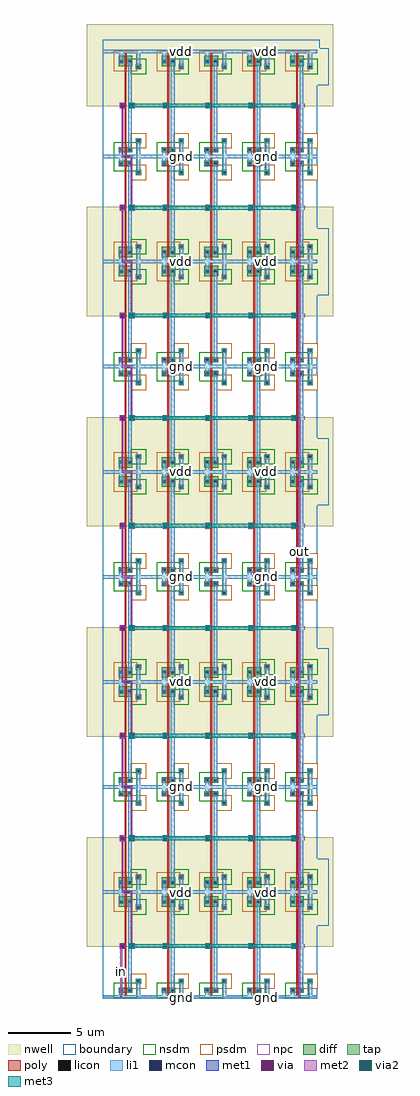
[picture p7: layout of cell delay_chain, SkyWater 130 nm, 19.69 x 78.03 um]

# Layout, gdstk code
import gdstk
lib = gdstk.Library(unit=1e-6, precision=1e-09)
def R(c, l, rs):  # rectangles x0, y0, x1, y1
    for r in rs: c.add(gdstk.rectangle(r[:2], r[2:], *l))
def A(c, l, x, y, w, h, nx, ny, dx, dy):  # array of equal rectangles
    R(c, l, [(x+i*dx, y+j*dy, x+i*dx+w, y+j*dy+h) for i in range(nx) for j in range(ny)])
nwell = (64, 20)
diff = (65, 20)
tap = (65, 44)
poly = (66, 20)
licon = (66, 44)
li1 = (67, 20)
mcon = (67, 44)
met1 = (68, 20)
via = (68, 44)
met2 = (69, 20)
via2 = (69, 44)
met3 = (70, 20)
nsdm = (93, 44)
psdm = (94, 20)
npc = (95, 20)
boundary = (235, 4)

contact_10 = lib.new_cell('contact_10')
R(contact_10, nwell, [(-1.27,-1.27,1.69,1.69)])
R(contact_10, diff, [(0,0,0.42,0.42)])
R(contact_10, licon, [(0.12,0.12,0.29,0.29)])
R(contact_10, li1, [(0.04,0.04,0.37,0.37)])
R(contact_10, psdm, [(-0.4,-0.4,0.82,0.82)])
R(contact_10, boundary, [(-1.27,-1.27,1.69,1.69)])

pmos_m1_w0_840_sli_dli_d = lib.new_cell('pmos_m1_w0_840_sli_dli_da_p')
R(pmos_m1_w0_840_sli_dli_d, nwell, [(-1.27,-1.27,2.37,2.11)])
R(pmos_m1_w0_840_sli_dli_d, diff, [(0,0,1.1,0.84)])
R(pmos_m1_w0_840_sli_dli_d, poly, [(0.47,-0.21,0.62,1.05), (0.47,-0.21,0.63,1.05)])
R(pmos_m1_w0_840_sli_dli_d, li1, [(0.05,0.25,0.37,0.59), (0.73,0.25,1.05,0.59)])
R(pmos_m1_w0_840_sli_dli_d, psdm, [(-0.4,-0.4,1.5,1.24)])
R(pmos_m1_w0_840_sli_dli_d, boundary, [(-1.27,-1.27,2.37,2.11)])
pmos_m1_w0_840_sli_dli_d.add(gdstk.Reference(contact_10, (0,0.21)))
pmos_m1_w0_840_sli_dli_d.add(gdstk.Reference(contact_10, (0.68,0.21)))
pmos_m1_w0_840_sli_dli_d.add(gdstk.Label('G', (0.55,0.42), layer=66, texttype=20))
pmos_m1_w0_840_sli_dli_d.add(gdstk.Label('S', (0.21,0.42), layer=67, texttype=20))
pmos_m1_w0_840_sli_dli_d.add(gdstk.Label('D', (0.89,0.42), layer=67, texttype=20))

contact_9 = lib.new_cell('contact_9')
R(contact_9, diff, [(0,0,0.42,0.42)])
R(contact_9, licon, [(0.12,0.12,0.29,0.29)])
R(contact_9, li1, [(0.04,0.04,0.37,0.37)])
R(contact_9, nsdm, [(-0.4,-0.4,0.82,0.82)])
R(contact_9, boundary, [(-0.4,-0.4,0.82,0.82)])

nmos_m1_w0_420_sli_dli_d = lib.new_cell('nmos_m1_w0_420_sli_dli_da_p')
R(nmos_m1_w0_420_sli_dli_d, diff, [(0,0,1.1,0.42)])
R(nmos_m1_w0_420_sli_dli_d, poly, [(0.47,-0.21,0.62,0.63), (0.47,-0.21,0.63,0.63)])
R(nmos_m1_w0_420_sli_dli_d, li1, [(0.05,0.05,0.37,0.37), (0.73,0.05,1.05,0.37)])
R(nmos_m1_w0_420_sli_dli_d, nsdm, [(-0.4,-0.4,1.5,0.82)])
R(nmos_m1_w0_420_sli_dli_d, boundary, [(-0.4,-0.4,1.5,0.82)])
nmos_m1_w0_420_sli_dli_d.add(gdstk.Reference(contact_9, (0,0)))
nmos_m1_w0_420_sli_dli_d.add(gdstk.Reference(contact_9, (0.68,0)))
nmos_m1_w0_420_sli_dli_d.add(gdstk.Label('G', (0.55,0.21), layer=66, texttype=20))
nmos_m1_w0_420_sli_dli_d.add(gdstk.Label('S', (0.21,0.21), layer=67, texttype=20))
nmos_m1_w0_420_sli_dli_d.add(gdstk.Label('D', (0.89,0.21), layer=67, texttype=20))

contact_11 = lib.new_cell('contact_11')
R(contact_11, nwell, [(-1.27,-1.27,1.69,1.69)])
R(contact_11, tap, [(0,0,0.42,0.42)])
R(contact_11, licon, [(0.12,0.12,0.29,0.29)])
R(contact_11, li1, [(0.04,0.04,0.37,0.37)])
R(contact_11, nsdm, [(-0.4,-0.4,0.82,0.82)])
R(contact_11, boundary, [(-1.27,-1.27,1.69,1.69)])

contact_12 = lib.new_cell('contact_12')
R(contact_12, tap, [(0,0,0.42,0.42)])
R(contact_12, licon, [(0.12,0.12,0.29,0.29)])
R(contact_12, li1, [(0.04,0.04,0.37,0.37)])
R(contact_12, psdm, [(-0.4,-0.4,0.82,0.82)])
R(contact_12, boundary, [(-0.4,-0.4,0.82,0.82)])

contact_13 = lib.new_cell('contact_13')
R(contact_13, poly, [(0,0,0.33,0.33)])
R(contact_13, licon, [(0.08,0.08,0.25,0.25)])
R(contact_13, li1, [(0,0,0.33,0.33)])
R(contact_13, npc, [(-0.05,-0.05,0.38,0.38)])
R(contact_13, boundary, [(-0.05,-0.05,0.38,0.38)])

pinv_11 = lib.new_cell('pinv_11')
R(pinv_11, nwell, [(-1.27,4.03,4.7,10.6)])
R(pinv_11, poly, [(1.74,0.97,1.89,7.01), (1.58,3.92,1.74,4.25)])
R(pinv_11, li1, [(0,-0.14,3.43,0.14), (1.32,-0.14,1.64,0.39), (2.68,0,3.01,1.27), (2.02,0.39,2.31,7.81), (1.41,3.92,1.74,4.26), (2.16,3.94,2.45,4.24), (2.68,7.2,3.01,8.4), (1.32,7.47,1.64,8.54), (0,8.26,3.43,8.54)])
R(pinv_11, boundary, [(0,0,3.43,8.4), (0,0,3.43,8.4)])
pinv_11.add(gdstk.Reference(pmos_m1_w0_840_sli_dli_d, (1.27,7.22)))
pinv_11.add(gdstk.Reference(nmos_m1_w0_420_sli_dli_d, (1.27,0.34)))
pinv_11.add(gdstk.Reference(contact_11, (2.64,6.99)))
pinv_11.add(gdstk.Reference(contact_12, (2.64,1.06)))
pinv_11.add(gdstk.Reference(contact_13, (1.41,3.92)))
pinv_11.add(gdstk.Label('A', (1.575,4.09), layer=67, texttype=20))
pinv_11.add(gdstk.Label('Z', (2.305,4.09), layer=67, texttype=20))
pinv_11.add(gdstk.Label('gnd', (1.715,0), layer=67, texttype=20))
pinv_11.add(gdstk.Label('vdd', (1.715,8.4), layer=67, texttype=20))

contact_14 = lib.new_cell('contact_14')
R(contact_14, li1, [(0,0,0.33,0.33)])
R(contact_14, mcon, [(0.08,0.08,0.25,0.25)])
R(contact_14, met1, [(0.02,0.02,0.31,0.31)])
R(contact_14, boundary, [(0,0,0.33,0.33)])

contact_6 = lib.new_cell('contact_6')
R(contact_6, met1, [(0,0,0.46,0.46)])
R(contact_6, via, [(0.1,0.1,0.36,0.36)])
R(contact_6, met2, [(0,0,0.46,0.46)])
R(contact_6, boundary, [(0,0,0.46,0.46)])

contact_7 = lib.new_cell('contact_7')
R(contact_7, met2, [(0,0,0.46,0.46)])
R(contact_7, via2, [(0.09,0.09,0.37,0.37)])
R(contact_7, met3, [(0.01,0.01,0.45,0.45)])
R(contact_7, boundary, [(0,0,0.46,0.46)])

delay_chain = lib.new_cell('delay_chain')
A(delay_chain, met2, 2.23, 4.09, 0.14, 4.31, 1, 4, 0, 16.8)
A(delay_chain, met2, 1.51, 8.33, 0.14, 0.14, 1, 8, 0, 8.4)
A(delay_chain, met2, 1.58, 8.33, 0.72, 0.14, 1, 8, 0, 8.4)
A(delay_chain, met2, 2.23, 8.33, 0.14, 0.14, 1, 8, 0, 8.4)
A(delay_chain, met2, 1.51, 8.4, 0.14, 4.31, 1, 4, 0, 16.8)
A(delay_chain, met2, 2.23, 12.71, 0.14, 4.09, 1, 4, 0, 16.8)
A(delay_chain, met2, 1.51, 16.8, 0.14, 4.09, 1, 4, 0, 16.8)
R(delay_chain, met2, [(1.41,0,1.55,4.09), (15.64,0,15.78,71.29), (15.65,0,15.79,71.29), (15.3,71.22,15.72,71.36), (15.65,71.22,15.79,71.36)])
A(delay_chain, met3, 6.03, -0.23, 0.46, 0.46, 1, 8, 0, 8.4)
A(delay_chain, met3, 12.89, -0.23, 0.46, 0.46, 1, 8, 0, 8.4)
A(delay_chain, met3, 6.03, 58.57, 0.46, 0.46, 1, 3, 0, 8.4)
A(delay_chain, met3, 12.89, 58.57, 0.46, 0.46, 1, 3, 0, 8.4)
R(delay_chain, met3, [(2.3,3.94,15.3,4.24), (2.3,12.56,15.3,12.86), (2.3,20.74,15.3,21.04), (2.3,29.36,15.3,29.66), (2.3,37.54,15.3,37.84), (2.3,46.16,15.3,46.46), (2.3,54.34,15.3,54.64), (2.3,62.96,15.3,63.26), (2.3,71.14,15.3,71.44)])
R(delay_chain, boundary, [(0,0,17.15,75.6)])
delay_chain.add(gdstk.Reference(pinv_11, (0,0)))
delay_chain.add(gdstk.Reference(pinv_11, (3.43,0)))
delay_chain.add(gdstk.Reference(pinv_11, (6.86,0)))
delay_chain.add(gdstk.Reference(pinv_11, (10.29,0)))
delay_chain.add(gdstk.Reference(pinv_11, (13.72,0)))
delay_chain.add(gdstk.Reference(pinv_11, (0,16.8), x_reflection=True))
delay_chain.add(gdstk.Reference(pinv_11, (3.43,16.8), x_reflection=True))
delay_chain.add(gdstk.Reference(pinv_11, (6.86,16.8), x_reflection=True))
delay_chain.add(gdstk.Reference(pinv_11, (10.29,16.8), x_reflection=True))
delay_chain.add(gdstk.Reference(pinv_11, (13.72,16.8), x_reflection=True))
delay_chain.add(gdstk.Reference(pinv_11, (0,16.8)))
delay_chain.add(gdstk.Reference(pinv_11, (3.43,16.8)))
delay_chain.add(gdstk.Reference(pinv_11, (6.86,16.8)))
delay_chain.add(gdstk.Reference(pinv_11, (10.29,16.8)))
delay_chain.add(gdstk.Reference(pinv_11, (13.72,16.8)))
delay_chain.add(gdstk.Reference(pinv_11, (0,33.6), x_reflection=True))
delay_chain.add(gdstk.Reference(pinv_11, (3.43,33.6), x_reflection=True))
delay_chain.add(gdstk.Reference(pinv_11, (6.86,33.6), x_reflection=True))
delay_chain.add(gdstk.Reference(pinv_11, (10.29,33.6), x_reflection=True))
delay_chain.add(gdstk.Reference(pinv_11, (13.72,33.6), x_reflection=True))
delay_chain.add(gdstk.Reference(pinv_11, (0,33.6)))
delay_chain.add(gdstk.Reference(pinv_11, (3.43,33.6)))
delay_chain.add(gdstk.Reference(pinv_11, (6.86,33.6)))
delay_chain.add(gdstk.Reference(pinv_11, (10.29,33.6)))
delay_chain.add(gdstk.Reference(pinv_11, (13.72,33.6)))
delay_chain.add(gdstk.Reference(pinv_11, (0,50.4), x_reflection=True))
delay_chain.add(gdstk.Reference(pinv_11, (3.43,50.4), x_reflection=True))
delay_chain.add(gdstk.Reference(pinv_11, (6.86,50.4), x_reflection=True))
delay_chain.add(gdstk.Reference(pinv_11, (10.29,50.4), x_reflection=True))
delay_chain.add(gdstk.Reference(pinv_11, (13.72,50.4), x_reflection=True))
delay_chain.add(gdstk.Reference(pinv_11, (0,50.4)))
delay_chain.add(gdstk.Reference(pinv_11, (3.43,50.4)))
delay_chain.add(gdstk.Reference(pinv_11, (6.86,50.4)))
delay_chain.add(gdstk.Reference(pinv_11, (10.29,50.4)))
delay_chain.add(gdstk.Reference(pinv_11, (13.72,50.4)))
delay_chain.add(gdstk.Reference(pinv_11, (0,67.2), x_reflection=True))
delay_chain.add(gdstk.Reference(pinv_11, (3.43,67.2), x_reflection=True))
delay_chain.add(gdstk.Reference(pinv_11, (6.86,67.2), x_reflection=True))
delay_chain.add(gdstk.Reference(pinv_11, (10.29,67.2), x_reflection=True))
delay_chain.add(gdstk.Reference(pinv_11, (13.72,67.2), x_reflection=True))
delay_chain.add(gdstk.Reference(pinv_11, (0,67.2)))
delay_chain.add(gdstk.Reference(pinv_11, (3.43,67.2)))
delay_chain.add(gdstk.Reference(pinv_11, (6.86,67.2)))
delay_chain.add(gdstk.Reference(pinv_11, (10.29,67.2)))
delay_chain.add(gdstk.Reference(pinv_11, (13.72,67.2)))
delay_chain.add(gdstk.Reference(contact_14, (4.84,3.92)))
delay_chain.add(gdstk.Reference(contact_6, (4.78,3.86)))
delay_chain.add(gdstk.Reference(contact_7, (4.78,3.86)))
delay_chain.add(gdstk.Reference(contact_14, (8.27,3.92)))
delay_chain.add(gdstk.Reference(contact_6, (8.2,3.86)))
delay_chain.add(gdstk.Reference(contact_7, (8.2,3.86)))
delay_chain.add(gdstk.Reference(contact_14, (11.7,3.92)))
delay_chain.add(gdstk.Reference(contact_6, (11.64,3.86)))
delay_chain.add(gdstk.Reference(contact_7, (11.64,3.86)))
delay_chain.add(gdstk.Reference(contact_14, (15.13,3.92)))
delay_chain.add(gdstk.Reference(contact_6, (15.06,3.86)))
delay_chain.add(gdstk.Reference(contact_7, (15.06,3.86)))
delay_chain.add(gdstk.Reference(contact_14, (1.41,3.92)))
delay_chain.add(gdstk.Reference(contact_6, (1.34,3.86)))
delay_chain.add(gdstk.Reference(contact_14, (2.14,3.92)))
delay_chain.add(gdstk.Reference(contact_6, (2.08,3.86)))
delay_chain.add(gdstk.Reference(contact_7, (2.08,3.86)))
delay_chain.add(gdstk.Reference(contact_14, (4.84,12.54)))
delay_chain.add(gdstk.Reference(contact_6, (4.78,12.48)))
delay_chain.add(gdstk.Reference(contact_7, (4.78,12.48)))
delay_chain.add(gdstk.Reference(contact_14, (8.27,12.54)))
delay_chain.add(gdstk.Reference(contact_6, (8.2,12.48)))
delay_chain.add(gdstk.Reference(contact_7, (8.2,12.48)))
delay_chain.add(gdstk.Reference(contact_14, (11.7,12.54)))
delay_chain.add(gdstk.Reference(contact_6, (11.64,12.48)))
delay_chain.add(gdstk.Reference(contact_7, (11.64,12.48)))
delay_chain.add(gdstk.Reference(contact_14, (15.13,12.54)))
delay_chain.add(gdstk.Reference(contact_6, (15.06,12.48)))
delay_chain.add(gdstk.Reference(contact_7, (15.06,12.48)))
delay_chain.add(gdstk.Reference(contact_14, (1.41,12.54)))
delay_chain.add(gdstk.Reference(contact_6, (1.34,12.48)))
delay_chain.add(gdstk.Reference(contact_14, (2.14,12.54)))
delay_chain.add(gdstk.Reference(contact_6, (2.08,12.48)))
delay_chain.add(gdstk.Reference(contact_7, (2.08,12.48)))
delay_chain.add(gdstk.Reference(contact_14, (4.84,20.72)))
delay_chain.add(gdstk.Reference(contact_6, (4.78,20.66)))
delay_chain.add(gdstk.Reference(contact_7, (4.78,20.66)))
delay_chain.add(gdstk.Reference(contact_14, (8.27,20.72)))
delay_chain.add(gdstk.Reference(contact_6, (8.2,20.66)))
delay_chain.add(gdstk.Reference(contact_7, (8.2,20.66)))
delay_chain.add(gdstk.Reference(contact_14, (11.7,20.72)))
delay_chain.add(gdstk.Reference(contact_6, (11.64,20.66)))
delay_chain.add(gdstk.Reference(contact_7, (11.64,20.66)))
delay_chain.add(gdstk.Reference(contact_14, (15.13,20.72)))
delay_chain.add(gdstk.Reference(contact_6, (15.06,20.66)))
delay_chain.add(gdstk.Reference(contact_7, (15.06,20.66)))
delay_chain.add(gdstk.Reference(contact_14, (1.41,20.72)))
delay_chain.add(gdstk.Reference(contact_6, (1.34,20.66)))
delay_chain.add(gdstk.Reference(contact_14, (2.14,20.72)))
delay_chain.add(gdstk.Reference(contact_6, (2.08,20.66)))
delay_chain.add(gdstk.Reference(contact_7, (2.08,20.66)))
delay_chain.add(gdstk.Reference(contact_14, (4.84,29.34)))
delay_chain.add(gdstk.Reference(contact_6, (4.78,29.28)))
delay_chain.add(gdstk.Reference(contact_7, (4.78,29.28)))
delay_chain.add(gdstk.Reference(contact_14, (8.27,29.34)))
delay_chain.add(gdstk.Reference(contact_6, (8.2,29.28)))
delay_chain.add(gdstk.Reference(contact_7, (8.2,29.28)))
delay_chain.add(gdstk.Reference(contact_14, (11.7,29.34)))
delay_chain.add(gdstk.Reference(contact_6, (11.64,29.28)))
delay_chain.add(gdstk.Reference(contact_7, (11.64,29.28)))
delay_chain.add(gdstk.Reference(contact_14, (15.13,29.34)))
delay_chain.add(gdstk.Reference(contact_6, (15.06,29.28)))
delay_chain.add(gdstk.Reference(contact_7, (15.06,29.28)))
delay_chain.add(gdstk.Reference(contact_14, (1.41,29.34)))
delay_chain.add(gdstk.Reference(contact_6, (1.34,29.28)))
delay_chain.add(gdstk.Reference(contact_14, (2.14,29.34)))
delay_chain.add(gdstk.Reference(contact_6, (2.08,29.28)))
delay_chain.add(gdstk.Reference(contact_7, (2.08,29.28)))
delay_chain.add(gdstk.Reference(contact_14, (4.84,37.52)))
delay_chain.add(gdstk.Reference(contact_6, (4.78,37.46)))
delay_chain.add(gdstk.Reference(contact_7, (4.78,37.46)))
delay_chain.add(gdstk.Reference(contact_14, (8.27,37.52)))
delay_chain.add(gdstk.Reference(contact_6, (8.2,37.46)))
delay_chain.add(gdstk.Reference(contact_7, (8.2,37.46)))
delay_chain.add(gdstk.Reference(contact_14, (11.7,37.52)))
delay_chain.add(gdstk.Reference(contact_6, (11.64,37.46)))
delay_chain.add(gdstk.Reference(contact_7, (11.64,37.46)))
delay_chain.add(gdstk.Reference(contact_14, (15.13,37.52)))
delay_chain.add(gdstk.Reference(contact_6, (15.06,37.46)))
delay_chain.add(gdstk.Reference(contact_7, (15.06,37.46)))
delay_chain.add(gdstk.Reference(contact_14, (1.41,37.52)))
delay_chain.add(gdstk.Reference(contact_6, (1.34,37.46)))
delay_chain.add(gdstk.Reference(contact_14, (2.14,37.52)))
delay_chain.add(gdstk.Reference(contact_6, (2.08,37.46)))
delay_chain.add(gdstk.Reference(contact_7, (2.08,37.46)))
delay_chain.add(gdstk.Reference(contact_14, (4.84,46.14)))
delay_chain.add(gdstk.Reference(contact_6, (4.78,46.08)))
delay_chain.add(gdstk.Reference(contact_7, (4.78,46.08)))
delay_chain.add(gdstk.Reference(contact_14, (8.27,46.14)))
delay_chain.add(gdstk.Reference(contact_6, (8.2,46.08)))
delay_chain.add(gdstk.Reference(contact_7, (8.2,46.08)))
delay_chain.add(gdstk.Reference(contact_14, (11.7,46.14)))
delay_chain.add(gdstk.Reference(contact_6, (11.64,46.08)))
delay_chain.add(gdstk.Reference(contact_7, (11.64,46.08)))
delay_chain.add(gdstk.Reference(contact_14, (15.13,46.14)))
delay_chain.add(gdstk.Reference(contact_6, (15.06,46.08)))
delay_chain.add(gdstk.Reference(contact_7, (15.06,46.08)))
delay_chain.add(gdstk.Reference(contact_14, (1.41,46.14)))
delay_chain.add(gdstk.Reference(contact_6, (1.34,46.08)))
delay_chain.add(gdstk.Reference(contact_14, (2.14,46.14)))
delay_chain.add(gdstk.Reference(contact_6, (2.08,46.08)))
delay_chain.add(gdstk.Reference(contact_7, (2.08,46.08)))
delay_chain.add(gdstk.Reference(contact_14, (4.84,54.32)))
delay_chain.add(gdstk.Reference(contact_6, (4.78,54.26)))
delay_chain.add(gdstk.Reference(contact_7, (4.78,54.26)))
delay_chain.add(gdstk.Reference(contact_14, (8.27,54.32)))
delay_chain.add(gdstk.Reference(contact_6, (8.2,54.26)))
delay_chain.add(gdstk.Reference(contact_7, (8.2,54.26)))
delay_chain.add(gdstk.Reference(contact_14, (11.7,54.32)))
delay_chain.add(gdstk.Reference(contact_6, (11.64,54.26)))
delay_chain.add(gdstk.Reference(contact_7, (11.64,54.26)))
delay_chain.add(gdstk.Reference(contact_14, (15.13,54.32)))
delay_chain.add(gdstk.Reference(contact_6, (15.06,54.26)))
delay_chain.add(gdstk.Reference(contact_7, (15.06,54.26)))
delay_chain.add(gdstk.Reference(contact_14, (1.41,54.32)))
delay_chain.add(gdstk.Reference(contact_6, (1.34,54.26)))
delay_chain.add(gdstk.Reference(contact_14, (2.14,54.32)))
delay_chain.add(gdstk.Reference(contact_6, (2.08,54.26)))
delay_chain.add(gdstk.Reference(contact_7, (2.08,54.26)))
delay_chain.add(gdstk.Reference(contact_14, (4.84,62.94)))
delay_chain.add(gdstk.Reference(contact_6, (4.78,62.88)))
delay_chain.add(gdstk.Reference(contact_7, (4.78,62.88)))
delay_chain.add(gdstk.Reference(contact_14, (8.27,62.94)))
delay_chain.add(gdstk.Reference(contact_6, (8.2,62.88)))
delay_chain.add(gdstk.Reference(contact_7, (8.2,62.88)))
delay_chain.add(gdstk.Reference(contact_14, (11.7,62.94)))
delay_chain.add(gdstk.Reference(contact_6, (11.64,62.88)))
delay_chain.add(gdstk.Reference(contact_7, (11.64,62.88)))
delay_chain.add(gdstk.Reference(contact_14, (15.13,62.94)))
delay_chain.add(gdstk.Reference(contact_6, (15.06,62.88)))
delay_chain.add(gdstk.Reference(contact_7, (15.06,62.88)))
delay_chain.add(gdstk.Reference(contact_14, (1.41,62.94)))
delay_chain.add(gdstk.Reference(contact_6, (1.34,62.88)))
delay_chain.add(gdstk.Reference(contact_14, (2.14,62.94)))
delay_chain.add(gdstk.Reference(contact_6, (2.08,62.88)))
delay_chain.add(gdstk.Reference(contact_7, (2.08,62.88)))
delay_chain.add(gdstk.Reference(contact_14, (4.84,71.12)))
delay_chain.add(gdstk.Reference(contact_6, (4.78,71.06)))
delay_chain.add(gdstk.Reference(contact_7, (4.78,71.06)))
delay_chain.add(gdstk.Reference(contact_14, (8.27,71.12)))
delay_chain.add(gdstk.Reference(contact_6, (8.2,71.06)))
delay_chain.add(gdstk.Reference(contact_7, (8.2,71.06)))
delay_chain.add(gdstk.Reference(contact_14, (11.7,71.12)))
delay_chain.add(gdstk.Reference(contact_6, (11.64,71.06)))
delay_chain.add(gdstk.Reference(contact_7, (11.64,71.06)))
delay_chain.add(gdstk.Reference(contact_14, (15.13,71.12)))
delay_chain.add(gdstk.Reference(contact_6, (15.06,71.06)))
delay_chain.add(gdstk.Reference(contact_7, (15.06,71.06)))
delay_chain.add(gdstk.Reference(contact_14, (1.41,71.12)))
delay_chain.add(gdstk.Reference(contact_6, (1.34,71.06)))
delay_chain.add(gdstk.Reference(contact_14, (2.14,71.12)))
delay_chain.add(gdstk.Reference(contact_6, (2.08,71.06)))
delay_chain.add(gdstk.Reference(contact_7, (2.08,71.06)))
delay_chain.add(gdstk.Reference(contact_14, (6.1,8.24)))
delay_chain.add(gdstk.Reference(contact_6, (6.03,8.17)))
delay_chain.add(gdstk.Reference(contact_7, (6.03,8.17)))
delay_chain.add(gdstk.Reference(contact_14, (12.96,8.24)))
delay_chain.add(gdstk.Reference(contact_6, (12.89,8.17)))
delay_chain.add(gdstk.Reference(contact_7, (12.89,8.17)))
delay_chain.add(gdstk.Reference(contact_14, (6.1,-0.16)))
delay_chain.add(gdstk.Reference(contact_6, (6.03,-0.23)))
delay_chain.add(gdstk.Reference(contact_7, (6.03,-0.23)))
delay_chain.add(gdstk.Reference(contact_14, (12.96,-0.16)))
delay_chain.add(gdstk.Reference(contact_6, (12.89,-0.23)))
delay_chain.add(gdstk.Reference(contact_7, (12.89,-0.23)))
delay_chain.add(gdstk.Reference(contact_14, (6.1,8.24)))
delay_chain.add(gdstk.Reference(contact_6, (6.03,8.17)))
delay_chain.add(gdstk.Reference(contact_7, (6.03,8.17)))
delay_chain.add(gdstk.Reference(contact_14, (12.96,8.24)))
delay_chain.add(gdstk.Reference(contact_6, (12.89,8.17)))
delay_chain.add(gdstk.Reference(contact_7, (12.89,8.17)))
delay_chain.add(gdstk.Reference(contact_14, (6.1,16.64)))
delay_chain.add(gdstk.Reference(contact_6, (6.03,16.57)))
delay_chain.add(gdstk.Reference(contact_7, (6.03,16.57)))
delay_chain.add(gdstk.Reference(contact_14, (12.96,16.64)))
delay_chain.add(gdstk.Reference(contact_6, (12.89,16.57)))
delay_chain.add(gdstk.Reference(contact_7, (12.89,16.57)))
delay_chain.add(gdstk.Reference(contact_14, (6.1,25.04)))
delay_chain.add(gdstk.Reference(contact_6, (6.03,24.97)))
delay_chain.add(gdstk.Reference(contact_7, (6.03,24.97)))
delay_chain.add(gdstk.Reference(contact_14, (12.96,25.04)))
delay_chain.add(gdstk.Reference(contact_6, (12.89,24.97)))
delay_chain.add(gdstk.Reference(contact_7, (12.89,24.97)))
delay_chain.add(gdstk.Reference(contact_14, (6.1,16.64)))
delay_chain.add(gdstk.Reference(contact_6, (6.03,16.57)))
delay_chain.add(gdstk.Reference(contact_7, (6.03,16.57)))
delay_chain.add(gdstk.Reference(contact_14, (12.96,16.64)))
delay_chain.add(gdstk.Reference(contact_6, (12.89,16.57)))
delay_chain.add(gdstk.Reference(contact_7, (12.89,16.57)))
delay_chain.add(gdstk.Reference(contact_14, (6.1,25.04)))
delay_chain.add(gdstk.Reference(contact_6, (6.03,24.97)))
delay_chain.add(gdstk.Reference(contact_7, (6.03,24.97)))
delay_chain.add(gdstk.Reference(contact_14, (12.96,25.04)))
delay_chain.add(gdstk.Reference(contact_6, (12.89,24.97)))
delay_chain.add(gdstk.Reference(contact_7, (12.89,24.97)))
delay_chain.add(gdstk.Reference(contact_14, (6.1,33.44)))
delay_chain.add(gdstk.Reference(contact_6, (6.03,33.37)))
delay_chain.add(gdstk.Reference(contact_7, (6.03,33.37)))
delay_chain.add(gdstk.Reference(contact_14, (12.96,33.44)))
delay_chain.add(gdstk.Reference(contact_6, (12.89,33.37)))
delay_chain.add(gdstk.Reference(contact_7, (12.89,33.37)))
delay_chain.add(gdstk.Reference(contact_14, (6.1,41.84)))
delay_chain.add(gdstk.Reference(contact_6, (6.03,41.77)))
delay_chain.add(gdstk.Reference(contact_7, (6.03,41.77)))
delay_chain.add(gdstk.Reference(contact_14, (12.96,41.84)))
delay_chain.add(gdstk.Reference(contact_6, (12.89,41.77)))
delay_chain.add(gdstk.Reference(contact_7, (12.89,41.77)))
delay_chain.add(gdstk.Reference(contact_14, (6.1,33.44)))
delay_chain.add(gdstk.Reference(contact_6, (6.03,33.37)))
delay_chain.add(gdstk.Reference(contact_7, (6.03,33.37)))
delay_chain.add(gdstk.Reference(contact_14, (12.96,33.44)))
delay_chain.add(gdstk.Reference(contact_6, (12.89,33.37)))
delay_chain.add(gdstk.Reference(contact_7, (12.89,33.37)))
delay_chain.add(gdstk.Reference(contact_14, (6.1,41.84)))
delay_chain.add(gdstk.Reference(contact_6, (6.03,41.77)))
delay_chain.add(gdstk.Reference(contact_7, (6.03,41.77)))
delay_chain.add(gdstk.Reference(contact_14, (12.96,41.84)))
delay_chain.add(gdstk.Reference(contact_6, (12.89,41.77)))
delay_chain.add(gdstk.Reference(contact_7, (12.89,41.77)))
delay_chain.add(gdstk.Reference(contact_14, (6.1,50.24)))
delay_chain.add(gdstk.Reference(contact_6, (6.03,50.17)))
delay_chain.add(gdstk.Reference(contact_7, (6.03,50.17)))
delay_chain.add(gdstk.Reference(contact_14, (12.96,50.24)))
delay_chain.add(gdstk.Reference(contact_6, (12.89,50.17)))
delay_chain.add(gdstk.Reference(contact_7, (12.89,50.17)))
delay_chain.add(gdstk.Reference(contact_14, (6.1,58.64)))
delay_chain.add(gdstk.Reference(contact_6, (6.03,58.57)))
delay_chain.add(gdstk.Reference(contact_7, (6.03,58.57)))
delay_chain.add(gdstk.Reference(contact_14, (12.96,58.64)))
delay_chain.add(gdstk.Reference(contact_6, (12.89,58.57)))
delay_chain.add(gdstk.Reference(contact_7, (12.89,58.57)))
delay_chain.add(gdstk.Reference(contact_14, (6.1,50.24)))
delay_chain.add(gdstk.Reference(contact_6, (6.03,50.17)))
delay_chain.add(gdstk.Reference(contact_7, (6.03,50.17)))
delay_chain.add(gdstk.Reference(contact_14, (12.96,50.24)))
delay_chain.add(gdstk.Reference(contact_6, (12.89,50.17)))
delay_chain.add(gdstk.Reference(contact_7, (12.89,50.17)))
delay_chain.add(gdstk.Reference(contact_14, (6.1,58.64)))
delay_chain.add(gdstk.Reference(contact_6, (6.03,58.57)))
delay_chain.add(gdstk.Reference(contact_7, (6.03,58.57)))
delay_chain.add(gdstk.Reference(contact_14, (12.96,58.64)))
delay_chain.add(gdstk.Reference(contact_6, (12.89,58.57)))
delay_chain.add(gdstk.Reference(contact_7, (12.89,58.57)))
delay_chain.add(gdstk.Reference(contact_14, (6.1,67.04)))
delay_chain.add(gdstk.Reference(contact_6, (6.03,66.97)))
delay_chain.add(gdstk.Reference(contact_7, (6.03,66.97)))
delay_chain.add(gdstk.Reference(contact_14, (12.96,67.04)))
delay_chain.add(gdstk.Reference(contact_6, (12.89,66.97)))
delay_chain.add(gdstk.Reference(contact_7, (12.89,66.97)))
delay_chain.add(gdstk.Reference(contact_14, (6.1,75.44)))
delay_chain.add(gdstk.Reference(contact_6, (6.03,75.37)))
delay_chain.add(gdstk.Reference(contact_7, (6.03,75.37)))
delay_chain.add(gdstk.Reference(contact_14, (12.96,75.44)))
delay_chain.add(gdstk.Reference(contact_6, (12.89,75.37)))
delay_chain.add(gdstk.Reference(contact_7, (12.89,75.37)))
delay_chain.add(gdstk.Reference(contact_14, (6.1,67.04)))
delay_chain.add(gdstk.Reference(contact_6, (6.03,66.97)))
delay_chain.add(gdstk.Reference(contact_7, (6.03,66.97)))
delay_chain.add(gdstk.Reference(contact_14, (12.96,67.04)))
delay_chain.add(gdstk.Reference(contact_6, (12.89,66.97)))
delay_chain.add(gdstk.Reference(contact_7, (12.89,66.97)))
delay_chain.add(gdstk.Reference(contact_14, (1.41,3.92)))
delay_chain.add(gdstk.Reference(contact_6, (1.34,3.86)))
delay_chain.add(gdstk.Reference(contact_14, (15.13,71.12)))
delay_chain.add(gdstk.Reference(contact_6, (15.06,71.06)))
delay_chain.add(gdstk.Label('vdd', (13.12,25.2), layer=70, texttype=20))
delay_chain.add(gdstk.Label('vdd', (13.12,75.6), layer=70, texttype=20))
delay_chain.add(gdstk.Label('vdd', (6.26,42), layer=70, texttype=20))
delay_chain.add(gdstk.Label('vdd', (6.26,58.8), layer=70, texttype=20))
delay_chain.add(gdstk.Label('vdd', (13.12,58.8), layer=70, texttype=20))
delay_chain.add(gdstk.Label('vdd', (6.26,58.8), layer=70, texttype=20))
delay_chain.add(gdstk.Label('vdd', (6.26,8.4), layer=70, texttype=20))
delay_chain.add(gdstk.Label('vdd', (13.12,58.8), layer=70, texttype=20))
delay_chain.add(gdstk.Label('vdd', (6.26,75.6), layer=70, texttype=20))
delay_chain.add(gdstk.Label('vdd', (6.26,25.2), layer=70, texttype=20))
delay_chain.add(gdstk.Label('vdd', (13.12,42), layer=70, texttype=20))
delay_chain.add(gdstk.Label('vdd', (13.12,8.4), layer=70, texttype=20))
delay_chain.add(gdstk.Label('gnd', (6.26,33.6), layer=70, texttype=20))
delay_chain.add(gdstk.Label('gnd', (6.26,16.8), layer=70, texttype=20))
delay_chain.add(gdstk.Label('gnd', (6.26,50.4), layer=70, texttype=20))
delay_chain.add(gdstk.Label('gnd', (13.12,50.4), layer=70, texttype=20))
delay_chain.add(gdstk.Label('gnd', (6.26,67.2), layer=70, texttype=20))
delay_chain.add(gdstk.Label('gnd', (13.12,0), layer=70, texttype=20))
delay_chain.add(gdstk.Label('gnd', (6.26,0), layer=70, texttype=20))
delay_chain.add(gdstk.Label('gnd', (13.12,16.8), layer=70, texttype=20))
delay_chain.add(gdstk.Label('gnd', (13.12,33.6), layer=70, texttype=20))
delay_chain.add(gdstk.Label('gnd', (13.12,67.2), layer=70, texttype=20))
delay_chain.add(gdstk.Label('in', (1.48,2.045), layer=69, texttype=20))
delay_chain.add(gdstk.Label('out', (15.71,35.645), layer=69, texttype=20))

lib.write_gds('delay_chain.gds')
